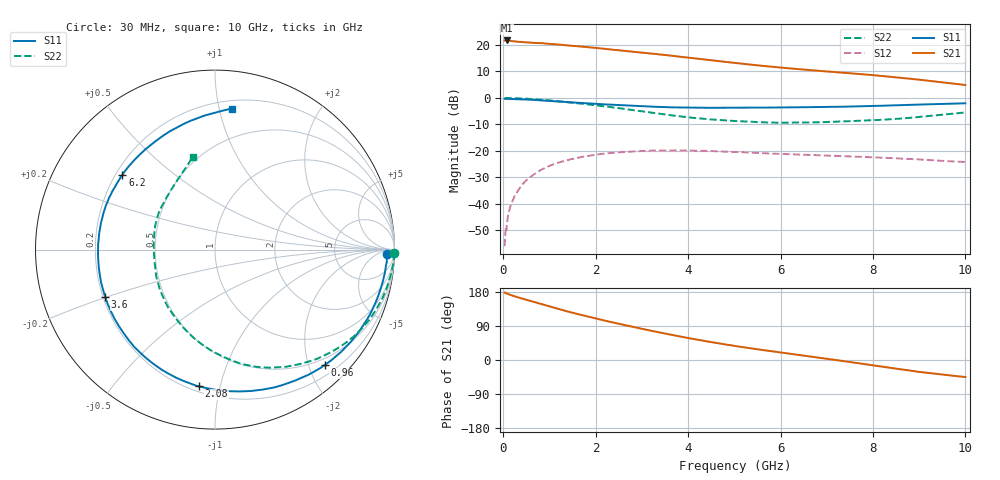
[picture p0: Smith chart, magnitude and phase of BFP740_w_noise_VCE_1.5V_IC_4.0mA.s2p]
! Infineon Technologies  Discrete & RF Semiconductors
! BFP740
! VCE =  1.5 V,  IC =  4.0 mA
! Common Emitter S-Parameters:  Jan 2016
# GHz  S  MA  R  50
!  f  S11  S21  S12  S22
! GHz  MAG  ANG  MAG  ANG  MAG  ANG  MAG  ANG
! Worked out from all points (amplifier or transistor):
!   229 points, 30 MHz to 10 GHz, reference 50 ohm
!   highest |S21| = 21.7 dB at 80 MHz (marker M1)
!   |S21| within 3 dB of that: start of sweep to 2.111 GHz
!   unconditionally stable (mu >= 1): 8.083 GHz to end of sweep
!   at 280 MHz: K = 0.05, MSG = 28.7 dB, |S12| = -36.1 dB
!   at 1.78 GHz: K = 0.21, MSG = 20.6 dB, |S12| = -22.0 dB
!   at 10 GHz: K = 1.23, MAG = 11.7 dB, |S12| = -24.2 dB
!   lowest NFmin = 0.45 dB at 450 MHz
!   S11 on the Smith chart (normalised r, x): 30 MHz: 35, -23; 960 MHz: 0.38, -2.27; 2.08 GHz: 0.23, -0.86; 3.6 GHz: 0.21, -0.20; 6.2 GHz: 0.23, +0.34; 10 GHz: 0.26, +1.09
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0.03  0.9604 -1.5  12.12 177.9  0.0016 81.8  0.9986 -1.1
0.05  0.9616 -2.5  12.11 177.1  0.0031 70.6  0.9971 -1.9
0.08  0.9593 -4.2  12.12 175.2  0.0043 82.8  0.9976 -2.9
0.17  0.9541 -8.6  11.85 171.2  0.0098 85.4  0.9924 -6.2
0.4  0.9399 -19.8  11.38 162.3  0.0223 76.8  0.9754 -14.3
0.8  0.9045 -39.1  10.84 148.1  0.0431 64.5  0.9306 -27.8
0.96  0.8869 -46.5  10.53 142.6  0.0504 59.2  0.9064 -33.1
1.28  0.8482 -61.3  9.983 131.6  0.0633 50.0  0.8519 -43.4
1.6  0.8127 -75.8  9.492 121.5  0.074 41.7  0.7967 -53.0
1.7  0.8022 -80.1  9.273 118.6  0.0771 39.1  0.7796 -55.8
2.08  0.7673 -96.7  8.637 107.3  0.0868 29.8  0.7122 -67.2
2.38  0.7416 -108.9  8.099 98.9  0.0922 23.1  0.662 -75.5
2.78  0.7111 -125.1  7.472 88.1  0.0976 14.9  0.5935 -86.4
3.4  0.6745 -149.2  6.576 72.2  0.1021 3.2  0.5006 -104.7
3.6  0.6664 -156.6  6.3 67.4  0.1023 -0.2  0.4744 -110.7
4.3  0.6514 -179.7  5.367 51.4  0.1005 -11.3  0.4065 -131.9
5.1  0.6543 159.9  4.488 35.4  0.095 -20.8  0.3639 -152.7
6.2  0.6632 141.0  3.605 16.7  0.0866 -29.8  0.3408 -178.3
6.8  0.6722 131.3  3.258 6.6  0.0831 -33.9  0.3466 168.2
8.4  0.7219 103.9  2.497 -21.1  0.0733 -43.2  0.3964 132.9
9  0.7489 94.5  2.206 -31.4  0.0691 -46.0  0.4377 119.1
10  0.7916 83.2  1.755 -45.0  0.0618 -46.7  0.5317 103.5
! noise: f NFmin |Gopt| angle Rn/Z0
0.45  0.45  0.46  11  0.27
0.9  0.45  0.46  18  0.26
1.5  0.49  0.45  27  0.25
1.9  0.53  0.43  43  0.24
2.4  0.55  0.43  48  0.23
3.5  0.67  0.39  70  0.21
5.5  0.9  0.28  159  0.19
10  1.62  0.57  -84  0.25
